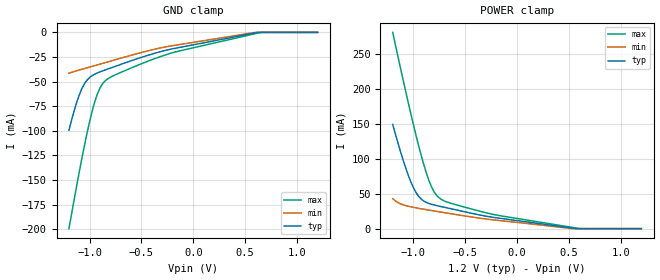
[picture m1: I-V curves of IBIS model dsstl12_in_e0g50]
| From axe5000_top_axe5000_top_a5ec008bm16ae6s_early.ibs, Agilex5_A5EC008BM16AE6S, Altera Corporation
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|   Model dsstl12_in_e0g50
[Model] dsstl12_in_e0g50
Model_type Input
Polarity   Non-Inverting
Enable   Active-High
Vinl =  0.500V
Vinh =  0.700V
C_comp   1.081pF   1.079pF   1.130pF
[Model Spec]
Vinh   0.700V   0.659V   0.743V
Vinl   0.500V   0.459V   0.543V
[Temperature Range]   25.000   100.000   0.0
[Voltage Range]   1.200V   1.140V   1.260V
[GND_clamp]
|Voltage   I(typ)   I(min)   I(max)
-1.2V     -99.32mA   -41.47mA   -199.3mA
-1.125V   -70.93mA   -38.95mA   -155.5mA
-1.075V   -57.03mA   -37.43mA   -127.8mA
-1.025V   -48.36mA   -35.94mA   -102.1mA
-975mV    -43.8mA    -34.46mA   -79.62mA
-925mV    -41.14mA   -32.98mA   -62.41mA
-900mV    -40.08mA   -32.23mA   -56.41mA
-850mV    -38.13mA   -30.73mA   -49.18mA
-450mV    -23.67mA   -19.07mA   -29.76mA
-75mV     -14.12mA   -11.38mA   -17.41mA
650mV     0A         0A         -42.48uA
1.2V      0A         0A         0A
[POWER_clamp]
|Voltage   I(typ)   I(min)   I(max)
-1.2V     149.2mA    42.86mA    281mA
-1.075V   87.16mA    33.03mA    196.8mA
-1.025V   67.03mA    31.24mA    164.5mA
-975mV    51.74mA    29.77mA    133.6mA
-925mV    42.33mA    28.45mA    104.9mA
-850mV    36.03mA    26.55mA    68.83mA
-800mV    33.92mA    25.32mA    52.69mA
-750mV    32.2mA     24.09mA    43.88mA
-650mV    28.93mA    21.68mA    36.94mA
-250mV    16.66mA    12.91mA    21.05mA
600mV     0A         0A         198.1uA
1.2V      0A         0A         0A
